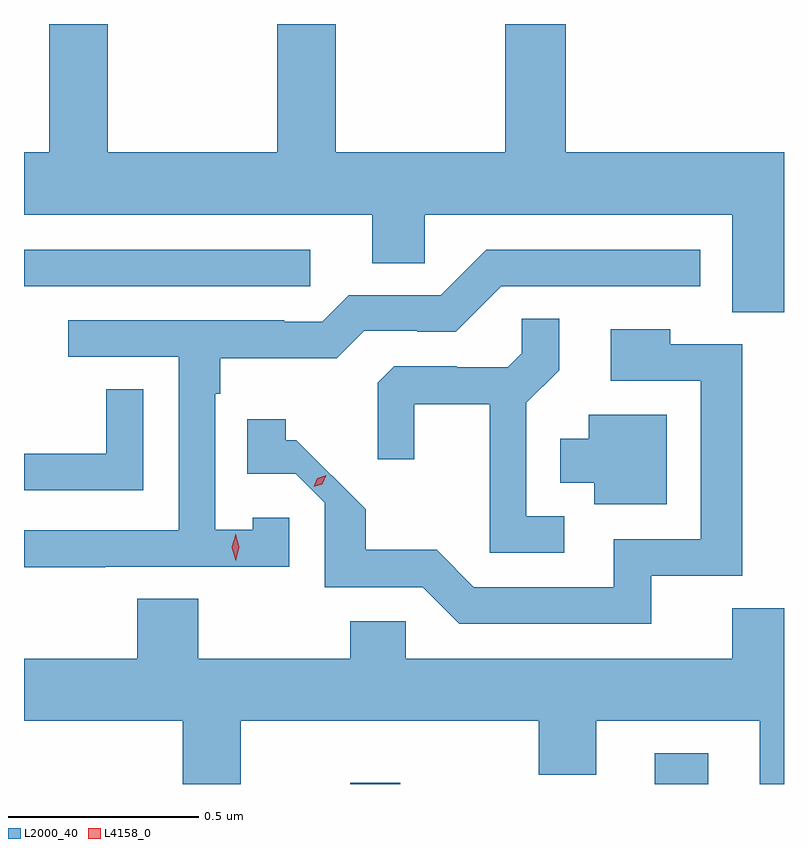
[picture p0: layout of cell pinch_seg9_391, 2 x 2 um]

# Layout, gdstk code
import gdstk
lib = gdstk.Library(unit=1e-6, precision=1e-09)
def R(c, l, rs):  # rectangles x0, y0, x1, y1
    for r in rs: c.add(gdstk.rectangle(r[:2], r[2:], *l))
def P(c, l, *ps):  # polygons
    for p in ps: c.add(gdstk.Polygon(p, *l))
L2000_40 = (2000, 40)
L4158_0 = (4158, 0)

pinch_seg9_391 = lib.new_cell('pinch_seg9_391')
R(pinch_seg9_391, L2000_40, [(383.588,1229.554,383.719,1229.557), (384.389,1229.554,384.529,1229.635), (382.729,1230.864,383.482,1230.96)])
P(pinch_seg9_391, L2000_40, [(384.729,1231.216),(384.155,1231.216),(384.155,1231.554),(383.995,1231.554),(383.995,1231.216),(383.55,1231.216),(383.55,1231.554),(383.395,1231.554),(383.395,1231.216),(382.95,1231.216),(382.95,1231.554),(382.795,1231.554),(382.795,1231.216),(382.729,1231.216),(382.729,1231.052),(383.645,1231.052),(383.645,1230.925),(383.784,1230.925),(383.784,1231.052),(384.593,1231.052),(384.593,1230.796),(384.729,1230.796)],
  [(382.943,1230.126),(383.427,1230.126),(383.427,1230.255),(383.331,1230.255),(383.331,1230.223),(383.232,1230.223),(383.232,1230.581),(383.245,1230.581),(383.245,1230.674),(383.552,1230.674),(383.625,1230.747),(383.764,1230.747),(383.764,1230.744),(383.865,1230.744),(383.985,1230.864),(384.508,1230.864),(384.508,1230.96),(383.946,1230.96),(383.826,1230.84),(383.583,1230.84),(383.514,1230.771),(383.414,1230.771),(383.414,1230.774),(382.845,1230.774),(382.845,1230.678),(383.136,1230.678),(383.136,1230.222),(382.729,1230.222),(382.729,1230.124),(382.943,1230.124)],
  [(384.151,1230.258),(384.051,1230.258),(384.051,1230.557),(384.137,1230.643),(384.137,1230.779),(384.039,1230.779),(384.039,1230.688),(384.002,1230.651),(383.868,1230.651),(383.868,1230.654),(383.703,1230.654),(383.66,1230.61),(383.66,1230.408),(383.756,1230.408),(383.756,1230.554),(383.954,1230.554),(383.954,1230.162),(384.151,1230.162)],
  [(384.38,1230.102),(384.619,1230.102),(384.619,1230.711),(384.429,1230.711),(384.429,1230.751),(384.273,1230.751),(384.273,1230.615),(384.51,1230.615),(384.51,1230.198),(384.281,1230.198),(384.281,1230.072),(383.913,1230.072),(383.815,1230.171),(383.628,1230.171),(383.628,1230.277),(383.446,1230.459),(383.418,1230.459),(383.418,1230.514),(383.317,1230.514),(383.317,1230.371),(383.444,1230.371),(383.52,1230.294),(383.52,1230.072),(383.778,1230.072),(383.874,1229.976),(384.38,1229.976)],
  [(383.043,1230.593),(382.945,1230.593),(382.945,1230.423),(382.729,1230.423),(382.729,1230.327),(383.043,1230.327)],
  [(384.421,1230.526),(384.215,1230.526),(384.215,1230.463),(384.14,1230.463),(384.14,1230.347),(384.23,1230.347),(384.23,1230.29),(384.421,1230.29)],
  [(384.083,1229.579),(384.235,1229.579),(384.235,1229.72),(384.665,1229.72),(384.665,1229.554),(384.729,1229.554),(384.729,1230.017),(384.593,1230.017),(384.593,1229.884),(383.733,1229.884),(383.733,1229.982),(383.587,1229.982),(383.587,1229.884),(383.187,1229.884),(383.187,1230.041),(383.027,1230.041),(383.027,1229.884),(382.729,1229.884),(382.729,1229.72),(383.147,1229.72),(383.147,1229.554),(383.299,1229.554),(383.299,1229.72),(384.083,1229.72)])
P(pinch_seg9_391, L4158_0, [(383.286,1230.142),(383.286,1230.142),(383.276,1230.177),(383.286,1230.211),(383.286,1230.212),(383.286,1230.211),(383.296,1230.177),(383.286,1230.142)],
  [(383.491,1230.336),(383.491,1230.336),(383.501,1230.358),(383.524,1230.366),(383.524,1230.366),(383.524,1230.366),(383.514,1230.343),(383.491,1230.336)])

lib.write_gds('pinch_seg9_391.gds')
